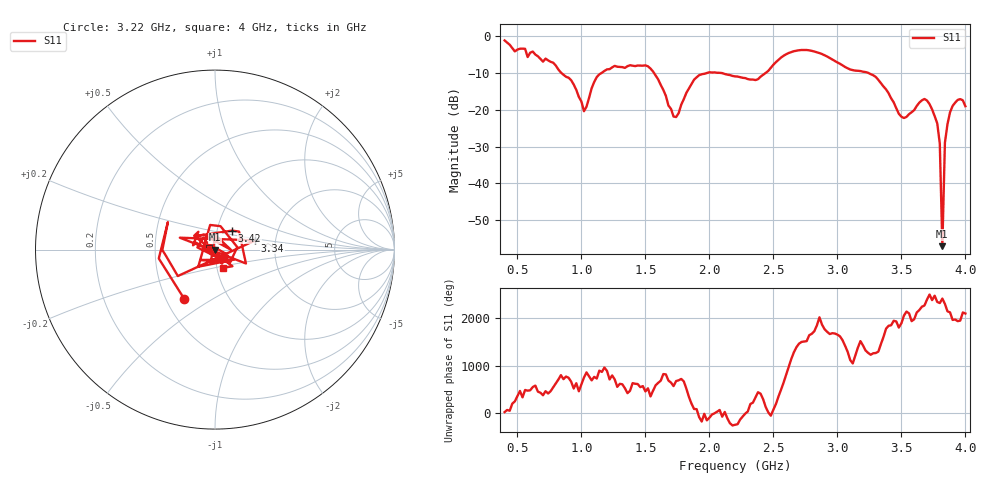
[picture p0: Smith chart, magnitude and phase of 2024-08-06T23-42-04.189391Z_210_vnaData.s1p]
!Created with skrf (http://scikit-rf.org).
# Hz S RI R 50.0
!freq ReS11 ImS11
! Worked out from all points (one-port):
!   181 points, 400 MHz to 4 GHz, reference 50 ohm
!   lowest |S11| = -57.0 dB at 3.82 GHz (marker M1), VSWR 1.00, Z = 49.9 - j0.129 ohm
!   |S11| at or under -10 dB: 1.567 GHz to 1.983 GHz (415.9 MHz wide, 23.4 % of centre); 2.086 GHz to 2.44 GHz (354.3 MHz wide, 15.7 % of centre); 3.241 GHz to end of sweep (the widest 3 of 4)
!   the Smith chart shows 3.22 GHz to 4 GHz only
!   S11 on the Smith chart (normalised r, x): 3.22 GHz: 0.62, -0.38; 3.34 GHz: 1.56, +0.17; 3.42 GHz: 1.18, +0.26; 4 GHz: 1.07, -0.22
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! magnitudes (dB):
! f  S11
! 400 MHz  -1.2
! 860 MHz  -10.5
! 940 MHz  -13.2
! 1.02 GHz  -20.4
! 1.12 GHz  -11.1
! 1.3 GHz  -8.4
! 1.52 GHz  -8.2
! 1.6 GHz  -11.8
! 1.72 GHz  -21.9
! 1.76 GHz  -20.9
! 1.92 GHz  -10.6
! 2.2 GHz  -11.0
! 2.38 GHz  -11.7
! 2.66 GHz  -4.1
! 3.1 GHz  -9.1
! 3.22 GHz  -9.8
! 3.34 GHz  -12.8
! 3.42 GHz  -16.9
! 3.5 GHz  -21.9
! 3.56 GHz  -21.2
! 3.68 GHz  -17.1
! 3.78 GHz  -23.7
! 3.8 GHz  -29.2
! 3.82 GHz  -57.0
! 3.84 GHz  -29.0
! 3.86 GHz  -23.9
! 3.94 GHz  -17.3
! 4 GHz  -19.1
